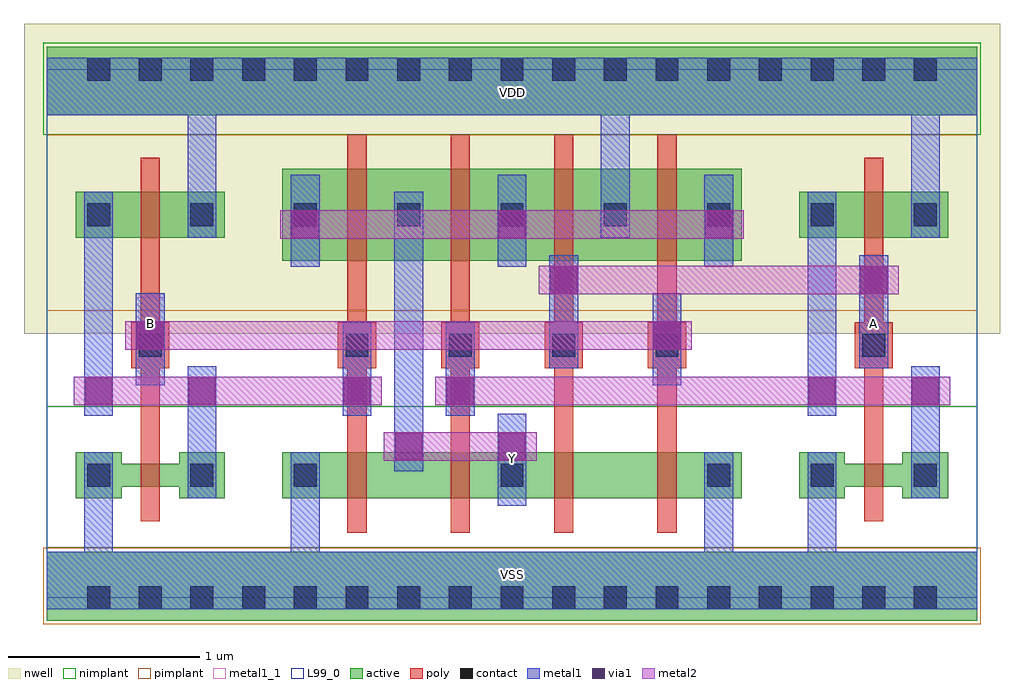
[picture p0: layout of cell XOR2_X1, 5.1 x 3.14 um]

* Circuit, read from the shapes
.subckt XOR2_X1 A B VDD VSS Y
M1 n1 B VSS VSS nfet w=0.12u l=0.1u
M2 n2 n1 VSS VSS nfet w=0.24u l=0.1u
M3 Y n3 n2 VSS nfet w=0.24u l=0.1u
M4 n4 A Y VSS nfet w=0.24u l=0.1u
M5 VSS B n4 VSS nfet w=0.24u l=0.1u
M6 n3 A VSS VSS nfet w=0.12u l=0.1u
M7 VDD B n1 VDD pfet w=0.24u l=0.1u
M8 Y n1 n5 VDD pfet w=0.48u l=0.1u
M9 n5 n3 Y VDD pfet w=0.48u l=0.1u
M10 VDD A n5 VDD pfet w=0.48u l=0.1u
M11 n5 B VDD VDD pfet w=0.48u l=0.1u
M12 VDD A n3 VDD pfet w=0.24u l=0.1u
.ends

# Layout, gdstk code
import gdstk
lib = gdstk.Library(unit=1e-6, precision=5e-10)
def R(c, l, rs):  # rectangles x0, y0, x1, y1
    for r in rs: c.add(gdstk.rectangle(r[:2], r[2:], *l))
def A(c, l, x, y, w, h, nx, ny, dx, dy):  # array of equal rectangles
    R(c, l, [(x+i*dx, y+j*dy, x+i*dx+w, y+j*dy+h) for i in range(nx) for j in range(ny)])
active = (1, 0)
nwell = (2, 0)
poly = (3, 0)
nimplant = (4, 0)
pimplant = (5, 0)
contact = (6, 0)
metal1 = (7, 0)
metal1_1 = (7, 1)
via1 = (8, 0)
metal2 = (9, 0)
L99_0 = (99, 0)

xor2_x1 = lib.new_cell('XOR2_X1')
A(xor2_x1, active, 0.15, 0.52, 0.24, 0.24, 9, 1, 0.54, 0)
A(xor2_x1, active, 1.47, 0.52, 0.3, 0.24, 4, 1, 0.54, 0)
A(xor2_x1, active, 1.23, 1.76, 0.24, 0.48, 5, 1, 0.54, 0)
A(xor2_x1, active, 1.47, 1.76, 0.3, 0.48, 4, 1, 0.54, 0)
R(xor2_x1, active, [(0,-0.12,4.86,0.24), (0.39,0.58,0.69,0.7), (4.17,0.58,4.47,0.7), (0.15,1.88,0.39,2.12), (0.39,1.88,0.69,2.12), (0.69,1.88,0.93,2.12), (3.93,1.88,4.17,2.12), (4.17,1.88,4.47,2.12), (4.47,1.88,4.71,2.12), (0,2.52,4.86,2.88)])
R(xor2_x1, nwell, [(-0.12,1.38,4.98,3)])
A(xor2_x1, poly, 1.57, 0.34, 0.1, 2.08, 4, 1, 0.54, 0)
A(xor2_x1, poly, 1.52, 1.2, 0.2, 0.24, 4, 1, 0.54, 0)
R(xor2_x1, poly, [(0.49,0.4,0.59,2.3), (4.27,0.4,4.37,2.3), (0.44,1.2,0.64,1.44), (4.22,1.2,4.42,1.44)])
R(xor2_x1, nimplant, [(0,0.26,4.86,1), (-0.02,2.42,4.88,2.9)])
R(xor2_x1, pimplant, [(-0.02,-0.14,4.88,0.26), (0,1.5,4.86,2.42)])
A(xor2_x1, contact, 0.21, -0.06, 0.12, 0.12, 17, 2, 0.27, 2.76)
A(xor2_x1, contact, 0.21, 0.58, 0.12, 0.12, 3, 1, 0.54, 0)
A(xor2_x1, contact, 3.45, 0.58, 0.12, 0.12, 3, 1, 0.54, 0)
A(xor2_x1, contact, 1.56, 1.26, 0.12, 0.12, 4, 1, 0.54, 0)
A(xor2_x1, contact, 0.21, 1.94, 0.12, 0.12, 9, 1, 0.54, 0)
R(xor2_x1, contact, [(2.37,0.58,2.49,0.7), (0.48,1.26,0.6,1.38), (4.26,1.26,4.38,1.38)])
A(xor2_x1, metal1, 1.275, 1.73, 0.15, 0.48, 3, 1, 1.08, 0)
R(xor2_x1, metal1, [(0,-0.06,4.86,0.24), (0.195,0,0.345,0.76), (1.275,0,1.425,0.76), (3.435,0,3.585,0.76), (3.975,0,4.125,0.76), (2.355,0.48,2.505,0.96), (0.735,0.52,0.885,1.21), (4.515,0.52,4.665,1.21), (1.815,0.66,1.965,2.12), (0.195,0.95,0.345,2.12), (1.545,0.95,1.695,1.44), (2.085,0.95,2.235,1.44), (3.975,0.95,4.125,2.12), (0.465,1.11,0.615,1.59), (3.165,1.11,3.315,1.59), (2.625,1.2,2.775,1.79), (4.245,1.2,4.395,1.79), (0.735,1.88,0.885,2.76), (2.895,1.88,3.045,2.76), (4.515,1.88,4.665,2.76), (0,2.52,4.86,2.82)])
R(xor2_x1, metal1_1, [(0,0,4.86,0.24), (2.355,0.59,2.505,0.86), (0.465,1.3,0.615,1.57), (4.245,1.3,4.395,1.57), (0,2.52,4.86,2.76)])
A(xor2_x1, via1, 1.28, 1.88, 0.14, 0.14, 3, 1, 1.08, 0)
R(xor2_x1, via1, [(1.82,0.72,1.96,0.86), (2.36,0.72,2.5,0.86), (0.2,1.01,0.34,1.15), (0.74,1.01,0.88,1.15), (1.55,1.01,1.69,1.15), (2.09,1.01,2.23,1.15), (3.98,1.01,4.12,1.15), (4.52,1.01,4.66,1.15), (0.47,1.3,0.61,1.44), (3.17,1.3,3.31,1.44), (2.63,1.59,2.77,1.73), (4.25,1.59,4.39,1.73)])
R(xor2_x1, metal2, [(1.76,0.715,2.56,0.865), (0.14,1.005,1.75,1.155), (2.03,1.005,4.72,1.155), (0.41,1.295,3.37,1.445), (2.57,1.585,4.45,1.735), (1.22,1.875,3.64,2.025)])
R(xor2_x1, L99_0, [(0,0,4.86,2.76)])
xor2_x1.add(gdstk.Label('Y', (2.43,0.725), layer=7, texttype=3))
xor2_x1.add(gdstk.Label('B', (0.54,1.435), layer=7, texttype=3))
xor2_x1.add(gdstk.Label('A', (4.32,1.435), layer=7, texttype=3))
xor2_x1.add(gdstk.Label('VDD', (2.43,2.64), layer=7, texttype=3))
xor2_x1.add(gdstk.Label('VSS', (2.43,0.12), layer=7, texttype=3))

lib.write_gds('XOR2_X1.gds')
